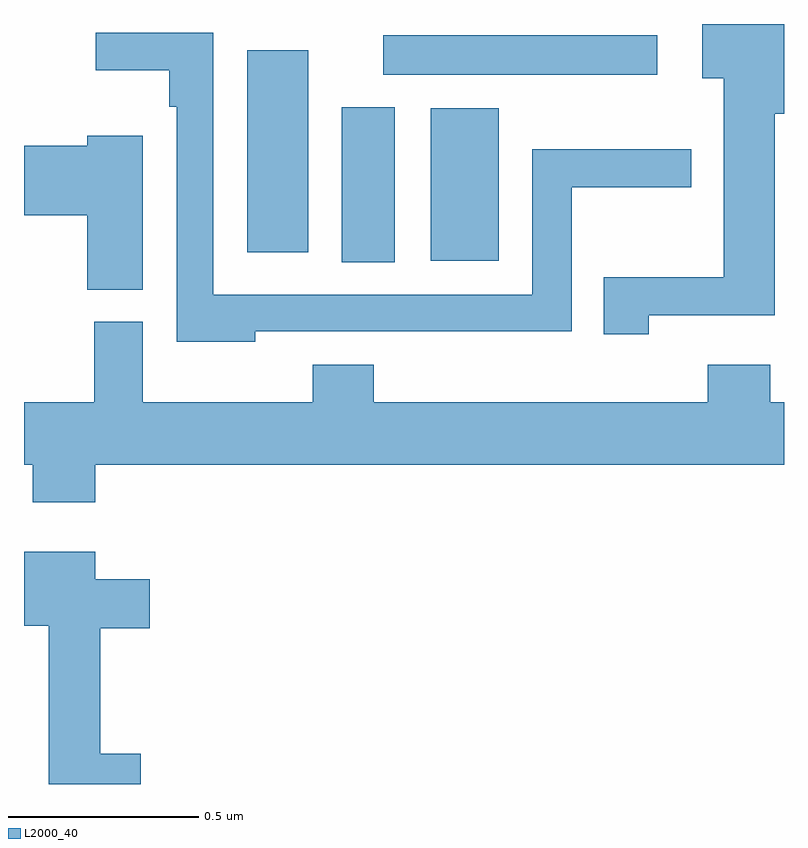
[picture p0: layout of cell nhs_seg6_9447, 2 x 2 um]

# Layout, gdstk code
import gdstk
lib = gdstk.Library(unit=1e-6, precision=1e-09)
def R(c, l, rs):  # rectangles x0, y0, x1, y1
    for r in rs: c.add(gdstk.rectangle(r[:2], r[2:], *l))
def P(c, l, *ps):  # polygons
    for p in ps: c.add(gdstk.Polygon(p, *l))
L2000_40 = (2000, 40)

nhs_seg6_9447 = lib.new_cell('nhs_seg6_9447')
R(nhs_seg6_9447, L2000_40, [(234.836,943.873,234.976,944.281), (235.07,943.877,235.249,944.278), (234.587,943.899,234.748,944.431), (234.945,944.366,235.666,944.47)])
P(nhs_seg6_9447, L2000_40, [(235.644,943.733),(235.976,943.733),(235.976,944.264),(236,944.264),(236,944.5),(235.785,944.5),(235.785,944.357),(235.841,944.357),(235.841,943.833),(235.526,943.833),(235.526,943.683),(235.644,943.683)],
  [(234.609,943.692),(235.003,943.692),(235.003,943.691),(235.441,943.691),(235.441,944.071),(235.756,944.071),(235.756,944.171),(235.337,944.171),(235.337,943.788),(234.498,943.788),(234.498,944.477),(234.189,944.477),(234.189,944.378),(234.382,944.378),(234.382,944.282),(234.402,944.282),(234.402,943.664),(234.609,943.664)],
  [(234.313,944.206),(234.167,944.206),(234.167,944.18),(234,944.18),(234,943.997),(234.167,943.997),(234.167,943.801),(234.313,943.801)],
  [(234.188,943.34),(236,943.34),(236,943.504),(235.964,943.504),(235.964,943.603),(235.799,943.603),(235.799,943.504),(234.92,943.504),(234.92,943.603),(234.76,943.603),(234.76,943.504),(234.313,943.504),(234.313,943.716),(234.185,943.716),(234.185,943.504),(234,943.504),(234,943.34),(234.023,943.34),(234.023,943.241),(234.188,943.241)],
  [(234.307,942.58),(234.2,942.58),(234.2,942.91),(234.331,942.91),(234.331,943.039),(234.187,943.039),(234.187,943.111),(234,943.111),(234,942.917),(234.065,942.917),(234.065,942.5),(234.307,942.5)])

lib.write_gds('nhs_seg6_9447.gds')
